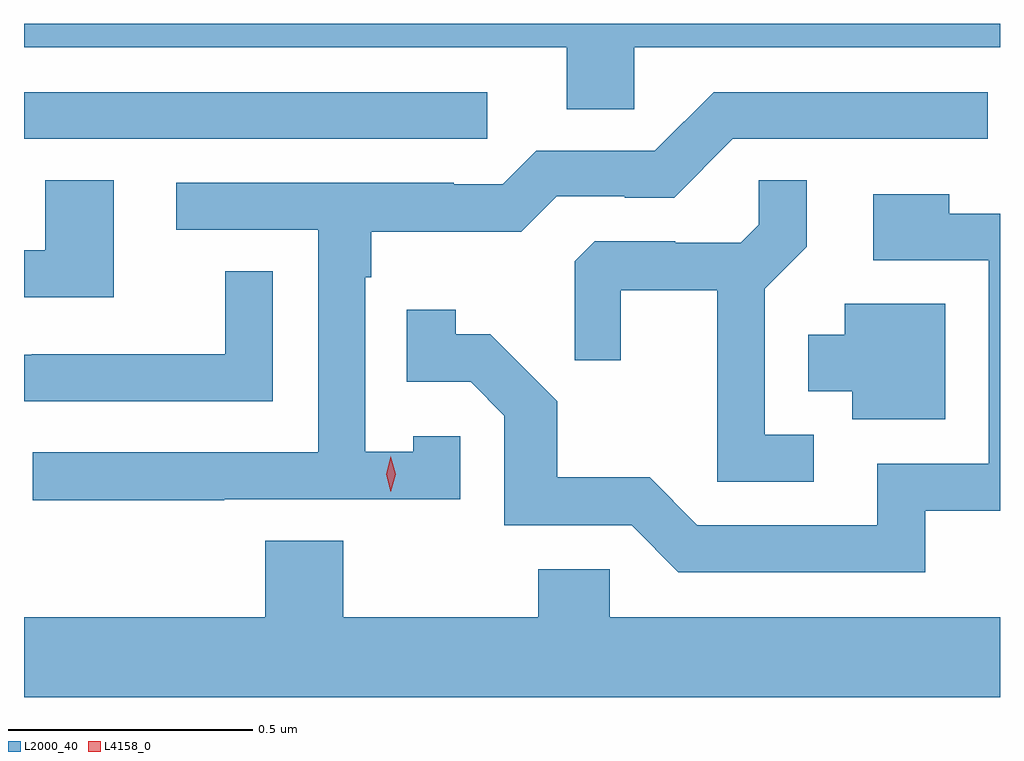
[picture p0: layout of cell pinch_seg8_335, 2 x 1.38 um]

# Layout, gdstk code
import gdstk
lib = gdstk.Library(unit=1e-6, precision=1e-09)
def R(c, l, rs):  # rectangles x0, y0, x1, y1
    for r in rs: c.add(gdstk.rectangle(r[:2], r[2:], *l))
def P(c, l, *ps):  # polygons
    for p in ps: c.add(gdstk.Polygon(p, *l))
L2000_40 = (2000, 40)
L4158_0 = (4158, 0)

pinch_seg8_335 = lib.new_cell('pinch_seg8_335')
R(pinch_seg8_335, L2000_40, [(470.889,1164.264,471.838,1164.36)])
P(pinch_seg8_335, L2000_40, [(472.14,1164.452),(472.889,1164.452),(472.889,1164.5),(470.889,1164.5),(470.889,1164.452),(472.001,1164.452),(472.001,1164.325),(472.14,1164.325)],
  [(471.299,1163.526),(471.783,1163.526),(471.783,1163.655),(471.687,1163.655),(471.687,1163.623),(471.588,1163.623),(471.588,1163.981),(471.601,1163.981),(471.601,1164.074),(471.908,1164.074),(471.981,1164.147),(472.12,1164.147),(472.12,1164.144),(472.221,1164.144),(472.341,1164.264),(472.864,1164.264),(472.864,1164.36),(472.302,1164.36),(472.182,1164.24),(471.939,1164.24),(471.87,1164.171),(471.77,1164.171),(471.77,1164.174),(471.201,1164.174),(471.201,1164.078),(471.492,1164.078),(471.492,1163.622),(470.907,1163.622),(470.907,1163.524),(471.299,1163.524)],
  [(471.073,1164.179),(470.933,1164.179),(470.933,1164.036),(470.889,1164.036),(470.889,1163.94),(471.073,1163.94)],
  [(472.507,1163.658),(472.407,1163.658),(472.407,1163.957),(472.493,1164.043),(472.493,1164.179),(472.395,1164.179),(472.395,1164.088),(472.358,1164.051),(472.224,1164.051),(472.224,1164.054),(472.059,1164.054),(472.018,1164.013),(472.018,1163.811),(472.112,1163.811),(472.112,1163.954),(472.31,1163.954),(472.31,1163.562),(472.507,1163.562)],
  [(472.736,1163.502),(472.889,1163.502),(472.889,1164.111),(472.785,1164.111),(472.785,1164.151),(472.629,1164.151),(472.629,1164.015),(472.866,1164.015),(472.866,1163.598),(472.637,1163.598),(472.637,1163.472),(472.269,1163.472),(472.171,1163.571),(471.982,1163.571),(471.982,1163.726),(471.844,1163.864),(471.774,1163.864),(471.774,1163.914),(471.673,1163.914),(471.673,1163.766),(471.804,1163.766),(471.873,1163.697),(471.873,1163.472),(472.134,1163.472),(472.23,1163.376),(472.736,1163.376)],
  [(471.399,1163.993),(471.301,1163.993),(471.301,1163.823),(470.905,1163.823),(470.905,1163.822),(470.889,1163.822),(470.889,1163.727),(471.399,1163.727)],
  [(472.777,1163.926),(472.571,1163.926),(472.571,1163.863),(472.496,1163.863),(472.496,1163.747),(472.586,1163.747),(472.586,1163.69),(472.777,1163.69)],
  [(472.889,1163.284),(472.089,1163.284),(472.089,1163.382),(471.943,1163.382),(471.943,1163.284),(471.543,1163.284),(471.543,1163.441),(471.383,1163.441),(471.383,1163.284),(470.889,1163.284),(470.889,1163.12),(472.889,1163.12)])
P(pinch_seg8_335, L4158_0, [(471.641,1163.541),(471.641,1163.541),(471.631,1163.577),(471.641,1163.613),(471.641,1163.614),(471.641,1163.613),(471.651,1163.577),(471.641,1163.541)])

lib.write_gds('pinch_seg8_335.gds')
